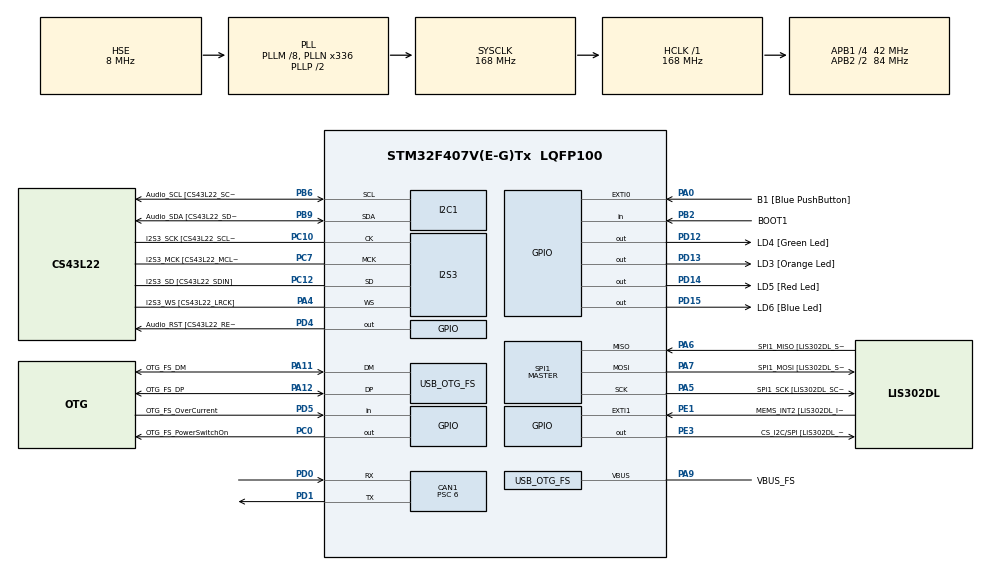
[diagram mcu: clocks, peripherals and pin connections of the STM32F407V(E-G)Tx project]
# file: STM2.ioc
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CAN1.BS1=CAN_BS1_11TQ
CAN1.BS2=CAN_BS2_2TQ
CAN1.CalculateBaudRate=500000
CAN1.CalculateTimeBit=2000
CAN1.CalculateTimeQuantum=142.85714285714286
CAN1.Prescaler=6
I2S3.AudioFreq-Half_Duplex_Master=I2S_AUDIOFREQ_96K
I2S3.ErrorAudioFreq=-2.34 %
I2S3.ErrorAudioFreq-Half_Duplex_Master=0.8 %
I2S3.FullDuplexMode=I2S_FULLDUPLEXMODE_DISABLE
I2S3.Instance=SPI$Index
I2S3.RealAudioFreq=93.75 KHz
I2S3.RealAudioFreq-Half_Duplex_Master=96.774 KHz
I2S3.VirtualMode=I2S_MODE_MASTER
Mcu.Family=STM32F4
Mcu.Name=STM32F407V(E-G)Tx
Mcu.Package=LQFP100
NVIC.CAN1_RX0_IRQn=true\:0\:0\:false\:false\:true\:true\:true\:true
NVIC.OTG_FS_IRQn=true\:0\:0\:false\:false\:true\:true\:true\:true
NVIC.PriorityGroup=NVIC_PRIORITYGROUP_0
PA0-WKUP.GPIO_Label=B1 [Blue PushButton]
PA0-WKUP.GPIO_ModeDefaultEXTI=GPIO_MODE_EVT_RISING
PA0-WKUP.GPIO_PuPd=GPIO_NOPULL
PA0-WKUP.Signal=GPXTI0
PA10.GPIO_Label=OTG_FS_ID
PA10.GPIO_Mode=GPIO_MODE_AF_PP
PA10.GPIO_PuPd=GPIO_NOPULL
PA10.GPIO_Speed=GPIO_SPEED_FREQ_LOW
PA10.Signal=USB_OTG_FS_ID
PA11.GPIO_Label=OTG_FS_DM
PA11.GPIO_Mode=GPIO_MODE_AF_PP
PA11.GPIO_PuPd=GPIO_NOPULL
PA11.GPIO_Speed=GPIO_SPEED_FREQ_LOW
PA11.Mode=Host_Only
PA11.Signal=USB_OTG_FS_DM
PA12.GPIO_Label=OTG_FS_DP
PA12.GPIO_Mode=GPIO_MODE_AF_PP
PA12.GPIO_PuPd=GPIO_NOPULL
PA12.GPIO_Speed=GPIO_SPEED_FREQ_LOW
PA12.Mode=Host_Only
PA12.Signal=USB_OTG_FS_DP
PA13.GPIO_Label=SWDIO
PA13.Mode=Serial_Wire
PA13.Signal=SYS_JTMS-SWDIO
PA14.GPIO_Label=SWCLK
PA14.Mode=Serial_Wire
PA14.Signal=SYS_JTCK-SWCLK
PA4.GPIO_Label=I2S3_WS [CS43L22_LRCK]
PA4.GPIO_Mode=GPIO_MODE_AF_PP
PA4.GPIO_PuPd=GPIO_NOPULL
PA4.GPIO_Speed=GPIO_SPEED_FREQ_LOW
PA4.Mode=Half_Duplex_Master
PA4.Signal=I2S3_WS
PA5.GPIO_Label=SPI1_SCK [LIS302DL_SCL/SPC]
PA5.GPIO_Mode=GPIO_MODE_AF_PP
PA5.GPIO_PuPd=GPIO_NOPULL
PA5.GPIO_Speed=GPIO_SPEED_FREQ_LOW
PA5.Mode=Full_Duplex_Master
PA5.Signal=SPI1_SCK
PA6.GPIO_Label=SPI1_MISO [LIS302DL_SDO]
PA6.GPIO_Mode=GPIO_MODE_AF_PP
PA6.GPIO_PuPd=GPIO_NOPULL
PA6.GPIO_Speed=GPIO_SPEED_FREQ_LOW
PA6.Mode=Full_Duplex_Master
PA6.Signal=SPI1_MISO
PA7.GPIO_Label=SPI1_MOSI [LIS302DL_SDA/SDI/SDO]
PA7.GPIO_Mode=GPIO_MODE_AF_PP
PA7.GPIO_PuPd=GPIO_NOPULL
PA7.GPIO_Speed=GPIO_SPEED_FREQ_LOW
PA7.Mode=Full_Duplex_Master
PA7.Signal=SPI1_MOSI
PA9.GPIO_Label=VBUS_FS
PA9.GPIO_Mode=GPIO_MODE_INPUT
PA9.GPIO_PuPd=GPIO_NOPULL
PA9.Mode=Activate_VBUS
PA9.Signal=USB_OTG_FS_VBUS
PB10.GPIO_Label=CLK_IN [MP45DT02_CLK]
PB10.GPIO_Mode=GPIO_MODE_AF_PP
PB10.GPIO_PuPd=GPIO_NOPULL
PB10.GPIO_Speed=GPIO_SPEED_FREQ_LOW
PB10.Signal=I2S2_CK
PB2.GPIO_Label=BOOT1
PB2.GPIO_Mode=GPIO_MODE_INPUT
PB2.GPIO_PuPd=GPIO_NOPULL
PB2.Signal=GPIO_Input
PB3.GPIO_Label=SWO
PB3.Signal=SYS_JTDO-SWO
PB6.GPIO_Label=Audio_SCL [CS43L22_SCL]
PB6.GPIO_Mode=GPIO_MODE_AF_OD
PB6.GPIO_Pu=GPIO_PULLUP
PB6.GPIO_PuPd=GPIO_NOPULL
PB6.GPIO_Speed=GPIO_SPEED_FREQ_LOW
PB6.Mode=I2C
PB6.Signal=I2C1_SCL
PB9.GPIO_Label=Audio_SDA [CS43L22_SDA]
PB9.GPIO_Mode=GPIO_MODE_AF_OD
PB9.GPIO_Pu=GPIO_PULLUP
PB9.GPIO_PuPd=GPIO_NOPULL
PB9.GPIO_Speed=GPIO_SPEED_FREQ_LOW
PB9.Mode=I2C
PB9.Signal=I2C1_SDA
PC0.GPIO_Label=OTG_FS_PowerSwitchOn
PC0.GPIO_PuPd=GPIO_NOPULL
PC0.GPIO_Speed=GPIO_SPEED_FREQ_LOW
PC0.PinState=GPIO_PIN_SET
PC0.Signal=GPIO_Output
PC10.GPIO_Label=I2S3_SCK [CS43L22_SCLK]
PC10.GPIO_Mode=GPIO_MODE_AF_PP
PC10.GPIO_PuPd=GPIO_NOPULL
PC10.GPIO_Speed=GPIO_SPEED_FREQ_LOW
PC10.Mode=Half_Duplex_Master
PC10.Signal=I2S3_CK
PC12.GPIO_Label=I2S3_SD [CS43L22_SDIN]
PC12.GPIO_Mode=GPIO_MODE_AF_PP
PC12.GPIO_PuPd=GPIO_NOPULL
PC12.GPIO_Speed=GPIO_SPEED_FREQ_LOW
PC12.Mode=Half_Duplex_Master
PC12.Signal=I2S3_SD
PC14-OSC32_IN.GPIO_Label=PC14-OSC32_IN
PC14-OSC32_IN.Mode=LSE-External-Oscillator
PC14-OSC32_IN.Signal=RCC_OSC32_IN
PC15-OSC32_OUT.GPIO_Label=PC15-OSC32_OUT
PC15-OSC32_OUT.Mode=LSE-External-Oscillator
PC15-OSC32_OUT.Signal=RCC_OSC32_OUT
PC3.GPIO_Label=PDM_OUT [MP45DT02_DOUT]
PC3.GPIO_Mode=GPIO_MODE_AF_PP
PC3.GPIO_PuPd=GPIO_NOPULL
PC3.GPIO_Speed=GPIO_SPEED_FREQ_LOW
PC3.Signal=I2S2_SD
PC7.GPIO_Label=I2S3_MCK [CS43L22_MCLK]
PC7.GPIO_Mode=GPIO_MODE_AF_PP
PC7.GPIO_PuPd=GPIO_NOPULL
PC7.GPIO_Speed=GPIO_SPEED_FREQ_LOW
PC7.Mode=Master_Clock_Activated
PC7.Signal=I2S3_MCK
PD0.Mode=CAN_Activate
PD0.Signal=CAN1_RX
PD1.Mode=CAN_Activate
PD1.Signal=CAN1_TX
PD12.GPIO_Label=LD4 [Green Led]
PD12.GPIO_PuPd=GPIO_NOPULL
PD12.GPIO_Speed=GPIO_SPEED_FREQ_LOW
PD12.Signal=GPIO_Output
PD13.GPIO_Label=LD3 [Orange Led]
PD13.GPIO_PuPd=GPIO_NOPULL
PD13.GPIO_Speed=GPIO_SPEED_FREQ_LOW
PD13.Signal=GPIO_Output
PD14.GPIO_Label=LD5 [Red Led]
PD14.GPIO_PuPd=GPIO_NOPULL
PD14.GPIO_Speed=GPIO_SPEED_FREQ_LOW
PD14.Signal=GPIO_Output
PD15.GPIO_Label=LD6 [Blue Led]
PD15.GPIO_PuPd=GPIO_NOPULL
PD15.GPIO_Speed=GPIO_SPEED_FREQ_LOW
PD15.Signal=GPIO_Output
PD4.GPIO_Label=Audio_RST [CS43L22_RESET]
PD4.GPIO_PuPd=GPIO_NOPULL
PD4.GPIO_Speed=GPIO_SPEED_FREQ_LOW
PD4.Signal=GPIO_Output
PD5.GPIO_Label=OTG_FS_OverCurrent
PD5.GPIO_Mode=GPIO_MODE_INPUT
PD5.GPIO_PuPd=GPIO_NOPULL
PD5.Signal=GPIO_Input
PE1.GPIO_Label=MEMS_INT2 [LIS302DL_INT2]
PE1.GPIO_ModeDefaultEXTI=GPIO_MODE_EVT_RISING
PE1.GPIO_PuPd=GPIO_NOPULL
PE1.Signal=GPXTI1
PE3.GPIO_Label=CS_I2C/SPI [LIS302DL_CS_I2C/SPI]
PE3.GPIO_PuPd=GPIO_NOPULL
PE3.GPIO_Speed=GPIO_SPEED_FREQ_LOW
PE3.Signal=GPIO_Output
PH0-OSC_IN.GPIO_Label=PH0-OSC_IN
PH0-OSC_IN.Mode=HSE-External-Oscillator
PH0-OSC_IN.Signal=RCC_OSC_IN
PH1-OSC_OUT.GPIO_Label=PH1-OSC_OUT
PH1-OSC_OUT.Mode=HSE-External-Oscillator
PH1-OSC_OUT.Signal=RCC_OSC_OUT
ProjectManager.HeapSize=0x200
ProjectManager.StackSize=0x400
ProjectManager.TargetToolchain=STM32CubeIDE
RCC.48MHZClocksFreq_Value=48000000
RCC.AHBFreq_Value=168000000
RCC.APB1CLKDivider=RCC_HCLK_DIV4
RCC.APB1Freq_Value=42000000
RCC.APB1TimFreq_Value=84000000
RCC.APB2CLKDivider=RCC_HCLK_DIV2
RCC.APB2Freq_Value=84000000
RCC.APB2TimFreq_Value=168000000
RCC.CortexFreq_Value=168000000
RCC.HCLKFreq_Value=168000000
RCC.HSE_VALUE=8000000
RCC.HSI_VALUE=16000000
RCC.PLLM=8
RCC.PLLN=336
RCC.PLLQ=7
RCC.SYSCLKFreq_VALUE=168000000
RCC.SYSCLKSource=RCC_SYSCLKSOURCE_PLLCLK
RCC.VCOOutputFreq_Value=336000000
SPI1.BaudRatePrescaler-Full_Duplex_Master=SPI_BAUDRATEPRESCALER_2
SPI1.CalculateBaudRate-Full_Duplex_Master=42.0 MBits/s
SPI1.Direction=SPI_DIRECTION_2LINES
SPI1.Mode=SPI_MODE_MASTER
SPI1.Mode-Full_Duplex_Master=SPI_MODE_MASTER
SPI1.VirtualType=VM_MASTER
USB_HOST.BSP.number=1
USB_HOST.USBH_HandleTypeDef-CDC_FS=hUsbHostFS
USB_HOST.VirtualModeFS=Cdc
USB_HOST0.BSP.STBoard=false
USB_HOST0.BSP.api=Unknown
USB_HOST0.BSP.instance=PC0
USB_HOST0.BSP.ip=GPIO
USB_HOST0.BSP.mode=Output
USB_HOST0.BSP.name=Drive_VBUS_FS
USB_HOST0.BSP.solution=PC0
USB_OTG_FS.VirtualMode=Host_Only
USB_OTG_FS.phy_itface=HCD_PHY_EMBEDDED
VP_USB_HOST_VS_USB_HOST_CDC_FS.Mode=CDC_FS
board=STM32F407G-DISC1

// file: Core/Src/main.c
/* USER CODE BEGIN Header */
/**
  ******************************************************************************
  * @file           : main.c
  * @brief          : Main program body
  ******************************************************************************
  * @attention
  *
  * Copyright (c) 2026 STMicroelectronics.
  * All rights reserved.
  *
  * This software is licensed under terms that can be found in the LICENSE file
  * in the root directory of this software component.
  * If no LICENSE file comes with this software, it is provided AS-IS.
  *
  ******************************************************************************
  */
/* USER CODE END Header */
#include "main.h"
#include "usb_host.h"

CAN_HandleTypeDef hcan1;

I2C_HandleTypeDef hi2c1;

I2S_HandleTypeDef hi2s3;

SPI_HandleTypeDef hspi1;

/* USER CODE BEGIN PV */

/* USER CODE BEGIN PV */

volatile uint32_t can_rx_id = 0;
volatile uint32_t can_rx_dlc = 0;
volatile uint8_t can_rx_data[8] = {0};
volatile uint32_t can_rx_count = 0;

volatile uint16_t can_counter = 0;
uint32_t counter_last_tick = 0;

/* USER CODE END PV */

/* USER CODE END PV */

void SystemClock_Config(void);
static void MX_GPIO_Init(void);
static void MX_CAN1_Init(void);
static void MX_I2C1_Init(void);
static void MX_I2S3_Init(void);
static void MX_SPI1_Init(void);
void MX_USB_HOST_Process(void);

int main(void)
{

  /* MCU Configuration--------------------------------------------------------*/

  /* Reset of all peripherals, Initializes the Flash interface and the Systick. */
  HAL_Init();

  /* Configure the system clock */
  SystemClock_Config();

  /* Initialize all configured peripherals */
  MX_GPIO_Init();
  MX_CAN1_Init();
  MX_I2C1_Init();
  MX_I2S3_Init();
  MX_SPI1_Init();
  MX_USB_HOST_Init();
  /* USER CODE BEGIN 2 */

  /* USER CODE BEGIN 2 */

  /* USER CODE BEGIN 2 */

  CAN_FilterTypeDef can_filter = {0};

  can_filter.FilterBank = 0;
  can_filter.FilterMode = CAN_FILTERMODE_IDLIST;
  can_filter.FilterScale = CAN_FILTERSCALE_32BIT;

  /* Premier identifiant accepté : 0x100 */
  can_filter.FilterIdHigh = (0x100U << 5);
  can_filter.FilterIdLow = 0;

  /* Deuxième identifiant accepté : 0x101 */
  can_filter.FilterMaskIdHigh = (0x101U << 5);
  can_filter.FilterMaskIdLow = 0;

  can_filter.FilterFIFOAssignment = CAN_FILTER_FIFO0;
  can_filter.FilterActivation = ENABLE;
  can_filter.SlaveStartFilterBank = 14;

  if (HAL_CAN_ConfigFilter(&hcan1, &can_filter) != HAL_OK)
  {
      Error_Handler();
  }

  if (HAL_CAN_Start(&hcan1) != HAL_OK)
  {
      Error_Handler();
  }

  /* USER CODE END 2 */
  /* USER CODE END 2 */

  /* USER CODE END 2 */

  /* Infinite loop */
  while (1)
  {
    MX_USB_HOST_Process();

    /* USER CODE BEGIN 3 */
    /* Incrémenter le compteur chaque seconde sans bloquer la réception */
    uint32_t now = HAL_GetTick();

    if ((uint32_t)(now - counter_last_tick) >= 1000U)
    {
        counter_last_tick += 1000U;
        can_counter++;
    }
    while (HAL_CAN_GetRxFifoFillLevel(&hcan1, CAN_RX_FIFO0) > 0)
        {
            CAN_RxHeaderTypeDef rx_header = {0};
            uint8_t rx_data[8] = {0};

            if (HAL_CAN_GetRxMessage(&hcan1,
                                    CAN_RX_FIFO0,
                                    &rx_header,
                                    rx_data) != HAL_OK)
            {
                Error_Handler();
            }

            /* Le laboratoire utilise des trames de données standard */
            if ((rx_header.IDE == CAN_ID_STD) &&
                (rx_header.RTR == CAN_RTR_DATA))
            {
                can_rx_id = rx_header.StdId;
                can_rx_dlc = rx_header.DLC;

                for (uint32_t i = 0; i < 8; i++)
                {
                    can_rx_data[i] = (i < rx_header.DLC)
                                     ? rx_data[i]
                                     : 0;
                }

                can_rx_count++;
                if (rx_header.StdId == 0x100)
                {
                    CAN_TxHeaderTypeDef tx_header = {0};
                    uint8_t tx_data[8] = {0};
                    uint32_t tx_mailbox;

                    /* Commande valide : au moins un octet, état 0 ou 1 */
                    if ((rx_header.DLC >= 1) && (rx_data[0] <= 0x01))
                    {
                        HAL_GPIO_WritePin(
                            GPIOD,
                            LD4_Pin,
                            (rx_data[0] == 0x01) ? GPIO_PIN_SET : GPIO_PIN_RESET
                        );

                        tx_data[0] = 0x01;  /* Commande exécutée */
                    }
                    else
                    {
                        tx_data[0] = 0x00;  /* Commande invalide */
                    }

                    /* Réponse ACK */
                    tx_header.StdId = 0x210;
                    tx_header.IDE = CAN_ID_STD;
                    tx_header.RTR = CAN_RTR_DATA;
                    tx_header.DLC = 1;
                    tx_header.TransmitGlobalTime = DISABLE;

                    if (HAL_CAN_AddTxMessage(&hcan1,
                                            &tx_header,
                                            tx_data,
                                            &tx_mailbox) != HAL_OK)
                    {
                        Error_Handler();
                    }
                }
                if (rx_header.StdId == 0x101)
                {
                    CAN_TxHeaderTypeDef tx_header = {0};
                    uint8_t tx_data[8] = {0};
                    uint32_t tx_mailbox;

                    /* Prendre une copie de la valeur à transmettre */
                    uint16_t value = can_counter;

                    /* Encodage Big-Endian */
                    tx_data[0] = (uint8_t)(value >> 8);     /* Poids fort */
                    tx_data[1] = (uint8_t)(value & 0xFFU);  /* Poids faible */

                    tx_header.StdId = 0x201;
                    tx_header.IDE = CAN_ID_STD;
                    tx_header.RTR = CAN_RTR_DATA;
                    tx_header.DLC = 2;
                    tx_header.TransmitGlobalTime = DISABLE;

                    if (HAL_CAN_AddTxMessage(&hcan1,
                                            &tx_header,
                                            tx_data,
                                            &tx_mailbox) != HAL_OK)
                    {
                        Error_Handler();
                    }
                }
            }
        }
  }
  /* USER CODE END 3 */
}

void SystemClock_Config(void)
{
  RCC_OscInitTypeDef RCC_OscInitStruct = {0};
  RCC_ClkInitTypeDef RCC_ClkInitStruct = {0};

  /** Configure the main internal regulator output voltage
  */
  __HAL_RCC_PWR_CLK_ENABLE();
  __HAL_PWR_VOLTAGESCALING_CONFIG(PWR_REGULATOR_VOLTAGE_SCALE1);

  /** Initializes the RCC Oscillators according to the specified parameters
  * in the RCC_OscInitTypeDef structure.
  */
  RCC_OscInitStruct.OscillatorType = RCC_OSCILLATORTYPE_HSE;
  RCC_OscInitStruct.HSEState = RCC_HSE_ON;
  RCC_OscInitStruct.PLL.PLLState = RCC_PLL_ON;
  RCC_OscInitStruct.PLL.PLLSource = RCC_PLLSOURCE_HSE;
  RCC_OscInitStruct.PLL.PLLM = 8;
  RCC_OscInitStruct.PLL.PLLN = 336;
  RCC_OscInitStruct.PLL.PLLP = RCC_PLLP_DIV2;
  RCC_OscInitStruct.PLL.PLLQ = 7;
  if (HAL_RCC_OscConfig(&RCC_OscInitStruct) != HAL_OK)
  {
    Error_Handler();
  }

  /** Initializes the CPU, AHB and APB buses clocks
  */
  RCC_ClkInitStruct.ClockType = RCC_CLOCKTYPE_HCLK|RCC_CLOCKTYPE_SYSCLK
                              |RCC_CLOCKTYPE_PCLK1|RCC_CLOCKTYPE_PCLK2;
  RCC_ClkInitStruct.SYSCLKSource = RCC_SYSCLKSOURCE_PLLCLK;
  RCC_ClkInitStruct.AHBCLKDivider = RCC_SYSCLK_DIV1;
  RCC_ClkInitStruct.APB1CLKDivider = RCC_HCLK_DIV4;
  RCC_ClkInitStruct.APB2CLKDivider = RCC_HCLK_DIV2;

  if (HAL_RCC_ClockConfig(&RCC_ClkInitStruct, FLASH_LATENCY_5) != HAL_OK)
  {
    Error_Handler();
  }
}

static void MX_CAN1_Init(void)
{

  hcan1.Instance = CAN1;
  hcan1.Init.Prescaler = 6;
  hcan1.Init.Mode = CAN_MODE_NORMAL;
  hcan1.Init.SyncJumpWidth = CAN_SJW_1TQ;
  hcan1.Init.TimeSeg1 = CAN_BS1_11TQ;
  hcan1.Init.TimeSeg2 = CAN_BS2_2TQ;
  hcan1.Init.TimeTriggeredMode = DISABLE;
  hcan1.Init.AutoBusOff = DISABLE;
  hcan1.Init.AutoWakeUp = DISABLE;
  hcan1.Init.AutoRetransmission = DISABLE;
  hcan1.Init.ReceiveFifoLocked = DISABLE;
  hcan1.Init.TransmitFifoPriority = DISABLE;
  if (HAL_CAN_Init(&hcan1) != HAL_OK)
  {
    Error_Handler();
  }

}

static void MX_I2C1_Init(void)
{

  hi2c1.Instance = I2C1;
  hi2c1.Init.ClockSpeed = 100000;
  hi2c1.Init.DutyCycle = I2C_DUTYCYCLE_2;
  hi2c1.Init.OwnAddress1 = 0;
  hi2c1.Init.AddressingMode = I2C_ADDRESSINGMODE_7BIT;
  hi2c1.Init.DualAddressMode = I2C_DUALADDRESS_DISABLE;
  hi2c1.Init.OwnAddress2 = 0;
  hi2c1.Init.GeneralCallMode = I2C_GENERALCALL_DISABLE;
  hi2c1.Init.NoStretchMode = I2C_NOSTRETCH_DISABLE;
  if (HAL_I2C_Init(&hi2c1) != HAL_OK)
  {
    Error_Handler();
  }

}

static void MX_I2S3_Init(void)
{

  hi2s3.Instance = SPI3;
  hi2s3.Init.Mode = I2S_MODE_MASTER_TX;
  hi2s3.Init.Standard = I2S_STANDARD_PHILIPS;
  hi2s3.Init.DataFormat = I2S_DATAFORMAT_16B;
  hi2s3.Init.MCLKOutput = I2S_MCLKOUTPUT_ENABLE;
  hi2s3.Init.AudioFreq = I2S_AUDIOFREQ_96K;
  hi2s3.Init.CPOL = I2S_CPOL_LOW;
  hi2s3.Init.ClockSource = I2S_CLOCK_PLL;
  hi2s3.Init.FullDuplexMode = I2S_FULLDUPLEXMODE_DISABLE;
  if (HAL_I2S_Init(&hi2s3) != HAL_OK)
  {
    Error_Handler();
  }

}

static void MX_SPI1_Init(void)
{

  /* SPI1 parameter configuration*/
  hspi1.Instance = SPI1;
  hspi1.Init.Mode = SPI_MODE_MASTER;
  hspi1.Init.Direction = SPI_DIRECTION_2LINES;
  hspi1.Init.DataSize = SPI_DATASIZE_8BIT;
  hspi1.Init.CLKPolarity = SPI_POLARITY_LOW;
  hspi1.Init.CLKPhase = SPI_PHASE_1EDGE;
  hspi1.Init.NSS = SPI_NSS_SOFT;
  hspi1.Init.BaudRatePrescaler = SPI_BAUDRATEPRESCALER_2;
  hspi1.Init.FirstBit = SPI_FIRSTBIT_MSB;
  hspi1.Init.TIMode = SPI_TIMODE_DISABLE;
  hspi1.Init.CRCCalculation = SPI_CRCCALCULATION_DISABLE;
  hspi1.Init.CRCPolynomial = 10;
  if (HAL_SPI_Init(&hspi1) != HAL_OK)
  {
    Error_Handler();
  }

}

static void MX_GPIO_Init(void)
{
  GPIO_InitTypeDef GPIO_InitStruct = {0};

  /* GPIO Ports Clock Enable */
  __HAL_RCC_GPIOE_CLK_ENABLE();
  __HAL_RCC_GPIOC_CLK_ENABLE();
  __HAL_RCC_GPIOH_CLK_ENABLE();
  __HAL_RCC_GPIOA_CLK_ENABLE();
  __HAL_RCC_GPIOB_CLK_ENABLE();
  __HAL_RCC_GPIOD_CLK_ENABLE();

  /*Configure GPIO pin Output Level */
  HAL_GPIO_WritePin(CS_I2C_SPI_GPIO_Port, CS_I2C_SPI_Pin, GPIO_PIN_RESET);

  /*Configure GPIO pin Output Level */
  HAL_GPIO_WritePin(OTG_FS_PowerSwitchOn_GPIO_Port, OTG_FS_PowerSwitchOn_Pin, GPIO_PIN_SET);

  /*Configure GPIO pin Output Level */
  HAL_GPIO_WritePin(GPIOD, LD4_Pin|LD3_Pin|LD5_Pin|LD6_Pin
                          |Audio_RST_Pin, GPIO_PIN_RESET);

  /*Configure GPIO pin : CS_I2C_SPI_Pin */
  GPIO_InitStruct.Pin = CS_I2C_SPI_Pin;
  GPIO_InitStruct.Mode = GPIO_MODE_OUTPUT_PP;
  GPIO_InitStruct.Pull = GPIO_NOPULL;
  GPIO_InitStruct.Speed = GPIO_SPEED_FREQ_LOW;
  HAL_GPIO_Init(CS_I2C_SPI_GPIO_Port, &GPIO_InitStruct);

  /*Configure GPIO pin : OTG_FS_PowerSwitchOn_Pin */
  GPIO_InitStruct.Pin = OTG_FS_PowerSwitchOn_Pin;
  GPIO_InitStruct.Mode = GPIO_MODE_OUTPUT_PP;
  GPIO_InitStruct.Pull = GPIO_NOPULL;
  GPIO_InitStruct.Speed = GPIO_SPEED_FREQ_LOW;
  HAL_GPIO_Init(OTG_FS_PowerSwitchOn_GPIO_Port, &GPIO_InitStruct);

  /*Configure GPIO pin : PDM_OUT_Pin */
  GPIO_InitStruct.Pin = PDM_OUT_Pin;
  GPIO_InitStruct.Mode = GPIO_MODE_AF_PP;
  GPIO_InitStruct.Pull = GPIO_NOPULL;
  GPIO_InitStruct.Speed = GPIO_SPEED_FREQ_LOW;
  GPIO_InitStruct.Alternate = GPIO_AF5_SPI2;
  HAL_GPIO_Init(PDM_OUT_GPIO_Port, &GPIO_InitStruct);

  /*Configure GPIO pin : B1_Pin */
  GPIO_InitStruct.Pin = B1_Pin;
  GPIO_InitStruct.Mode = GPIO_MODE_EVT_RISING;
  GPIO_InitStruct.Pull = GPIO_NOPULL;
  HAL_GPIO_Init(B1_GPIO_Port, &GPIO_InitStruct);

  /*Configure GPIO pin : BOOT1_Pin */
  GPIO_InitStruct.Pin = BOOT1_Pin;
  GPIO_InitStruct.Mode = GPIO_MODE_INPUT;
  GPIO_InitStruct.Pull = GPIO_NOPULL;
  HAL_GPIO_Init(BOOT1_GPIO_Port, &GPIO_InitStruct);

  /*Configure GPIO pin : CLK_IN_Pin */
  GPIO_InitStruct.Pin = CLK_IN_Pin;
  GPIO_InitStruct.Mode = GPIO_MODE_AF_PP;
  GPIO_InitStruct.Pull = GPIO_NOPULL;
  GPIO_InitStruct.Speed = GPIO_SPEED_FREQ_LOW;
  GPIO_InitStruct.Alternate = GPIO_AF5_SPI2;
  HAL_GPIO_Init(CLK_IN_GPIO_Port, &GPIO_InitStruct);

  /*Configure GPIO pins : LD4_Pin LD3_Pin LD5_Pin LD6_Pin
                           Audio_RST_Pin */
  GPIO_InitStruct.Pin = LD4_Pin|LD3_Pin|LD5_Pin|LD6_Pin
                          |Audio_RST_Pin;
  GPIO_InitStruct.Mode = GPIO_MODE_OUTPUT_PP;
  GPIO_InitStruct.Pull = GPIO_NOPULL;
  GPIO_InitStruct.Speed = GPIO_SPEED_FREQ_LOW;
  HAL_GPIO_Init(GPIOD, &GPIO_InitStruct);

  /*Configure GPIO pin : OTG_FS_OverCurrent_Pin */
  GPIO_InitStruct.Pin = OTG_FS_OverCurrent_Pin;
  GPIO_InitStruct.Mode = GPIO_MODE_INPUT;
  GPIO_InitStruct.Pull = GPIO_NOPULL;
  HAL_GPIO_Init(OTG_FS_OverCurrent_GPIO_Port, &GPIO_InitStruct);

  /*Configure GPIO pin : MEMS_INT2_Pin */
  GPIO_InitStruct.Pin = MEMS_INT2_Pin;
  GPIO_InitStruct.Mode = GPIO_MODE_EVT_RISING;
  GPIO_InitStruct.Pull = GPIO_NOPULL;
  HAL_GPIO_Init(MEMS_INT2_GPIO_Port, &GPIO_InitStruct);

}

void Error_Handler(void)
{
  __disable_irq();
  while (1)
  {
  }
}
